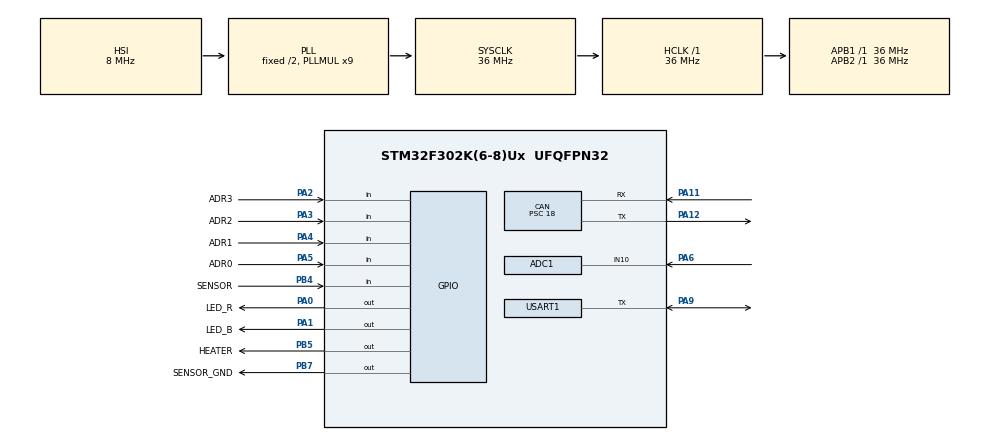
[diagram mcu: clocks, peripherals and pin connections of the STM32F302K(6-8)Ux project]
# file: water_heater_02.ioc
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Mcu.Family=STM32F3
PA2.GPIO_PuPd=GPIO_PULLUP
RCC.CortexFreq_Value=36000000
ADC1.ContinuousConvMode=ENABLE
RCC.SYSCLKSourceVirtual=RCC_SYSCLKSOURCE_PLLCLK
PA3.GPIO_PuPd=GPIO_PULLUP
PA0.GPIO_Label=LED_R
PA11.Mode=CAN_Activate
CAN.SJW=CAN_SJW_1TQ
ProjectManager.StackSize=0x400
PA12.Signal=CAN_TX
CAN.Prescaler=18
ADC1.Offset-0\#ChannelRegularConversion=0
RCC.HCLKFreq_Value=36000000
RCC.APB2TimFreq_Value=36000000
PB6.Signal=I2C1_SCL
Dma.ADC1.0.Direction=DMA_PERIPH_TO_MEMORY
Dma.ADC1.0.MemDataAlignment=DMA_MDATAALIGN_HALFWORD
RCC.AHBFreq_Value=36000000
ADC1.Channel-0\#ChannelRegularConversion=ADC_CHANNEL_10
RCC.HSE_VALUE=8000000
PA4.GPIO_PuPd=GPIO_PULLUP
RCC.PLLMUL=RCC_PLL_MUL9
PA14.Mode=Serial_Wire
PA5.GPIO_PuPd=GPIO_PULLUP
Dma.ADC1.0.PeriphInc=DMA_PINC_DISABLE
PB7.Signal=GPIO_Output
CAN.CalculateTimeQuantum=500.0
ADC1.SamplingTime-0\#ChannelRegularConversion=ADC_SAMPLETIME_601CYCLES_5
PA0.Signal=GPIO_Output
PB7.GPIO_Label=SENSOR_GND
Mcu.Package=UFQFPN32
PA6.Signal=ADCx_IN10
PA2.GPIO_Label=ADR3
PB5.GPIO_Label=HEATER
RCC.APB1TimFreq_Value=36000000
Dma.Request0=ADC1
PA4.GPIO_Label=ADR1
PB4.Signal=GPIO_Input
PA3.Signal=GPIO_Input
Dma.ADC1.0.Instance=DMA1_Channel1
ADC1.Rank-0\#ChannelRegularConversion=1
ADC1.OffsetNumber-0\#ChannelRegularConversion=ADC_OFFSET_NONE
CAN.CalculateBaudRate=125000
NVIC.USB_LP_CAN_RX0_IRQn=true\:0\:0\:false\:false\:true\:true\:true
CAN.CalculateTimeBit=8000.00
PA13.Signal=SYS_JTMS-SWDIO
Dma.ADC1.0.PeriphDataAlignment=DMA_PDATAALIGN_HALFWORD
PA9.Mode=Half_duplex(single_wire_mode)
CAN.BS2=CAN_BS2_7TQ
CAN.BS1=CAN_BS1_8TQ
ProjectManager.TargetToolchain=STM32CubeIDE
Dma.ADC1.0.Mode=DMA_CIRCULAR
Dma.ADC1.0.Priority=DMA_PRIORITY_LOW
PA9.Signal=USART1_TX
PB4.GPIO_PuPd=GPIO_PULLUP
RCC.USBFreq_Value=36000000
CAN.Mode=CAN_MODE_NORMAL
PA1.Signal=GPIO_Output
PA5.Signal=GPIO_Input
board=custom
RCC.APB2Freq_Value=36000000
PB4.GPIO_Label=SENSOR
PA1.GPIO_Label=LED_B
ADC1.DMAContinuousRequests=ENABLE
ADC1.NbrOfConversion=1
PA13.Mode=Serial_Wire
Mcu.Name=STM32F302K(6-8)Ux
PA2.Signal=GPIO_Input
PA4.Signal=GPIO_Input
RCC.SYSCLKFreq_VALUE=36000000
PB5.Signal=GPIO_Output
ADC1.master=1
PA12.Mode=CAN_Activate
PA5.GPIO_Label=ADR0
PA11.Signal=CAN_RX
USART1.VirtualMode-Half_duplex(single_wire_mode)=VM_ASYNC
PA14.Signal=SYS_JTCK-SWCLK
Dma.ADC1.0.MemInc=DMA_MINC_ENABLE
SH.ADCx_IN10.0=ADC1_IN10,IN10-Single-Ended
ProjectManager.HeapSize=0x200
RCC.HSI_VALUE=8000000
NVIC.PriorityGroup=NVIC_PRIORITYGROUP_4
ADC1.NbrOfConversionFlag=1
NVIC.DMA1_Channel1_IRQn=true\:0\:0\:false\:false\:true\:false\:true
RCC.APB1Freq_Value=36000000
PA3.GPIO_Label=ADR2

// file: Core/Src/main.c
/* USER CODE BEGIN Header */
/**
  ******************************************************************************
  * @file           : main.c
  * @brief          : Main program body
  ******************************************************************************
  * @attention
  *
  * <h2><center>&copy; Copyright (c) 2022 STMicroelectronics.
  * All rights reserved.</center></h2>
  *
  * This software component is licensed by ST under BSD 3-Clause license,
  * the "License"; You may not use this file except in compliance with the
  * License. You may obtain a copy of the License at:
  *                        opensource.org/licenses/BSD-3-Clause
  *
  ******************************************************************************
  */
/* USER CODE END Header */
#include "main.h"

/* USER CODE BEGIN Includes */
#include "SI7051.h"
#define HISTERESIS 10
#define TARGET_TEMP 50
/* USER CODE END Includes */

ADC_HandleTypeDef hadc1;
DMA_HandleTypeDef hdma_adc1;

CAN_HandleTypeDef hcan;

UART_HandleTypeDef huart1;

void SystemClock_Config(void);
static void MX_GPIO_Init(void);
static void MX_DMA_Init(void);
static void MX_CAN_Init(void);
static void MX_USART1_UART_Init(void);
static void MX_ADC1_Init(void);

/* USER CODE BEGIN 0 */
/******************************CAN*******************************/
CAN_TxHeaderTypeDef TxHeader;
CAN_RxHeaderTypeDef RxHeader;

uint32_t TxMailbox [3];

uint8_t TxData [8];
uint8_t Rxdata [8];
/******************************CAN*******************************/

int16_t air_temperature=0;
int16_t temperature = 0;
uint8_t address = 0;
uint8_t heating = 0;
uint8_t empty = 0;
uint16_t ADC_value[1];
uint16_t ADC_filtered;

uint8_t address_read ()
{
	uint8_t ADR = 0;
	if (HAL_GPIO_ReadPin(ADR0_GPIO_Port, ADR0_Pin)==GPIO_PIN_SET)
		ADR = ADR + 1;
	if (HAL_GPIO_ReadPin(ADR1_GPIO_Port, ADR1_Pin)==GPIO_PIN_SET)
		ADR = ADR + 2;
	if (HAL_GPIO_ReadPin(ADR2_GPIO_Port, ADR2_Pin)==GPIO_PIN_SET)
		ADR = ADR + 4;
	if (HAL_GPIO_ReadPin(ADR3_GPIO_Port, ADR3_Pin)==GPIO_PIN_SET)
		ADR = ADR + 8;

	switch(ADR)
	{
	case 0:
		break;
	case 1:
		HAL_Delay(200);
		break;
	case 2:
		HAL_Delay(400);
		break;
	case 3:
		HAL_Delay(600);
		break;
	case 4:
		HAL_Delay(800);
		break;
	case 5:
		HAL_Delay(1000);
		break;
	case 6:
		HAL_Delay(1200);
		break;
	case 7:
		HAL_Delay(1400);
		break;
	case 8:
		HAL_Delay(1600);
		break;
	case 9:
		HAL_Delay(1800);
		break;
	case 10:
		HAL_Delay(100);
		break;
	}
	return ADR;
}
void HAL_CAN_RxFifo0MsgPendingCallback(CAN_HandleTypeDef *hcan)
{
	HAL_CAN_GetRxMessage(hcan, CAN_RX_FIFO0, &RxHeader, Rxdata);
	if(RxHeader.StdId == 0x755)
	{
		/*
		 * txBuffer[0]=(uint8_t)(temp & 0xff);
		 *	txBuffer[1]=(uint8_t)((temp >> 8) & 0xff);
		 */
		air_temperature = (int16_t)(((uint16_t)Rxdata[0]) + (((uint16_t)Rxdata[1]) << 8));
	}

}
void TxCANMessage()
{
	TxHeader.DLC = 4;
	TxHeader.ExtId = 0;
	TxHeader.IDE = CAN_ID_STD;
	TxHeader.RTR = CAN_RTR_DATA;
	TxHeader.StdId = 0x700 + address;
	TxHeader.TransmitGlobalTime = DISABLE;

	TxData[0] = (uint8_t)(temperature & 0xff);
	TxData[1] = (uint8_t)((temperature >> 8) & 0xff);
	TxData[2] = heating + (empty << 1);
	TxData[3] = 0;

	HAL_CAN_AddTxMessage(&hcan, &TxHeader, TxData, TxMailbox);
	HAL_GPIO_WritePin(LED_B_GPIO_Port, LED_B_Pin, GPIO_PIN_SET);
	HAL_Delay(50);
	HAL_GPIO_WritePin(LED_B_GPIO_Port, LED_B_Pin, GPIO_PIN_RESET);
}
/* USER CODE END 0 */

int main(void)
{
  /* USER CODE BEGIN 1 */
	uint32_t can_timestamp = 0;
  /* USER CODE END 1 */

  /* MCU Configuration--------------------------------------------------------*/

  /* Reset of all peripherals, Initializes the Flash interface and the Systick. */
  HAL_Init();

  /* Configure the system clock */
  SystemClock_Config();

  /* Initialize all configured peripherals */
  MX_GPIO_Init();
  MX_DMA_Init();
  MX_CAN_Init();
  MX_USART1_UART_Init();
  MX_ADC1_Init();
  /* USER CODE BEGIN 2 */
  HAL_GPIO_WritePin(SENSOR_GND_GPIO_Port, SENSOR_GND_Pin, GPIO_PIN_RESET);
  HAL_CAN_Start(&hcan);
  HAL_CAN_ActivateNotification(&hcan, CAN_IT_RX_FIFO0_MSG_PENDING);
  //SI7051_start_conversion(&hi2c1);
  HAL_ADC_Start_DMA(&hadc1, ADC_value, 1);
  HAL_GPIO_WritePin(HEATER_GPIO_Port, HEATER_Pin, GPIO_PIN_RESET);
  address = address_read();
  can_timestamp = HAL_GetTick();
  HAL_Delay(20);
  ADC_filtered = ADC_value[0];
  //temperature = SI7051_read_temperature(&hi2c1);

  /* USER CODE END 2 */

  /* Infinite loop */
  /* USER CODE BEGIN WHILE */
  while (1)
  {
	  /*
	   * TEMP: 241 ADC 1960
	   * TEMP: 238 ADC 1943
	   * TEMP: -192 ADC 340
	   * TEMP: 80 ADC 1229
	   * TEMP:  ADC
	   * TEMP:  ADC
	   * TEMP:  ADC
	   * TEMP:  ADC */
	  ADC_filtered = (uint16_t)((float)ADC_filtered * 0.9 + (float)ADC_value[0] * 0.1);
	  temperature = (int16_t)((0.2651*(float)ADC_filtered) - 270.86);

	  //SI7051_start_conversion(&hi2c1);
	  if ((HAL_GetTick() - can_timestamp) > 2000)
	  {
		  TxCANMessage();
		  can_timestamp = HAL_GetTick();
	  }
	  HAL_Delay(10);
	  //temperature = SI7051_read_temperature(&hi2c1);
	  if (HAL_GPIO_ReadPin(SENSOR_GPIO_Port, SENSOR_Pin))
	  {
		  empty = 0;
		  HAL_GPIO_WritePin(LED_R_GPIO_Port, LED_R_Pin, GPIO_PIN_RESET);
		  if (temperature < (TARGET_TEMP - HISTERESIS))
		  {
			  heating = 1;
			  HAL_GPIO_WritePin(HEATER_GPIO_Port, HEATER_Pin, GPIO_PIN_SET);
		  }
		  if (temperature > (TARGET_TEMP + HISTERESIS))
		  {
			  heating = 0;
			  HAL_GPIO_WritePin(HEATER_GPIO_Port, HEATER_Pin, GPIO_PIN_RESET);
		  }
	  }
	  else
	  {
		  HAL_GPIO_WritePin(LED_R_GPIO_Port, LED_R_Pin, GPIO_PIN_SET);
		  heating = 0;
		  empty = 1;
		  HAL_GPIO_WritePin(HEATER_GPIO_Port, HEATER_Pin, GPIO_PIN_RESET);
	  }
    /* USER CODE END WHILE */

  }
}

void SystemClock_Config(void)
{
  RCC_OscInitTypeDef RCC_OscInitStruct = {0};
  RCC_ClkInitTypeDef RCC_ClkInitStruct = {0};
  RCC_PeriphCLKInitTypeDef PeriphClkInit = {0};

  /** Initializes the RCC Oscillators according to the specified parameters
  * in the RCC_OscInitTypeDef structure.
  */
  RCC_OscInitStruct.OscillatorType = RCC_OSCILLATORTYPE_HSI;
  RCC_OscInitStruct.HSIState = RCC_HSI_ON;
  RCC_OscInitStruct.HSICalibrationValue = RCC_HSICALIBRATION_DEFAULT;
  RCC_OscInitStruct.PLL.PLLState = RCC_PLL_ON;
  RCC_OscInitStruct.PLL.PLLSource = RCC_PLLSOURCE_HSI;
  RCC_OscInitStruct.PLL.PLLMUL = RCC_PLL_MUL9;
  if (HAL_RCC_OscConfig(&RCC_OscInitStruct) != HAL_OK)
  {
    Error_Handler();
  }
  /** Initializes the CPU, AHB and APB buses clocks
  */
  RCC_ClkInitStruct.ClockType = RCC_CLOCKTYPE_HCLK|RCC_CLOCKTYPE_SYSCLK
                              |RCC_CLOCKTYPE_PCLK1|RCC_CLOCKTYPE_PCLK2;
  RCC_ClkInitStruct.SYSCLKSource = RCC_SYSCLKSOURCE_PLLCLK;
  RCC_ClkInitStruct.AHBCLKDivider = RCC_SYSCLK_DIV1;
  RCC_ClkInitStruct.APB1CLKDivider = RCC_HCLK_DIV1;
  RCC_ClkInitStruct.APB2CLKDivider = RCC_HCLK_DIV1;

  if (HAL_RCC_ClockConfig(&RCC_ClkInitStruct, FLASH_LATENCY_1) != HAL_OK)
  {
    Error_Handler();
  }
  PeriphClkInit.PeriphClockSelection = RCC_PERIPHCLK_USART1|RCC_PERIPHCLK_ADC1;
  PeriphClkInit.Usart1ClockSelection = RCC_USART1CLKSOURCE_PCLK1;
  PeriphClkInit.Adc1ClockSelection = RCC_ADC1PLLCLK_DIV1;

  if (HAL_RCCEx_PeriphCLKConfig(&PeriphClkInit) != HAL_OK)
  {
    Error_Handler();
  }
}

static void MX_ADC1_Init(void)
{

  ADC_ChannelConfTypeDef sConfig = {0};

  /** Common config
  */
  hadc1.Instance = ADC1;
  hadc1.Init.ClockPrescaler = ADC_CLOCK_ASYNC_DIV1;
  hadc1.Init.Resolution = ADC_RESOLUTION_12B;
  hadc1.Init.ScanConvMode = ADC_SCAN_DISABLE;
  hadc1.Init.ContinuousConvMode = ENABLE;
  hadc1.Init.DiscontinuousConvMode = DISABLE;
  hadc1.Init.ExternalTrigConvEdge = ADC_EXTERNALTRIGCONVEDGE_NONE;
  hadc1.Init.ExternalTrigConv = ADC_SOFTWARE_START;
  hadc1.Init.DataAlign = ADC_DATAALIGN_RIGHT;
  hadc1.Init.NbrOfConversion = 1;
  hadc1.Init.DMAContinuousRequests = ENABLE;
  hadc1.Init.EOCSelection = ADC_EOC_SINGLE_CONV;
  hadc1.Init.LowPowerAutoWait = DISABLE;
  hadc1.Init.Overrun = ADC_OVR_DATA_OVERWRITTEN;
  if (HAL_ADC_Init(&hadc1) != HAL_OK)
  {
    Error_Handler();
  }
  /** Configure Regular Channel
  */
  sConfig.Channel = ADC_CHANNEL_10;
  sConfig.Rank = ADC_REGULAR_RANK_1;
  sConfig.SingleDiff = ADC_SINGLE_ENDED;
  sConfig.SamplingTime = ADC_SAMPLETIME_601CYCLES_5;
  sConfig.OffsetNumber = ADC_OFFSET_NONE;
  sConfig.Offset = 0;
  if (HAL_ADC_ConfigChannel(&hadc1, &sConfig) != HAL_OK)
  {
    Error_Handler();
  }

}

static void MX_CAN_Init(void)
{

  hcan.Instance = CAN;
  hcan.Init.Prescaler = 18;
  hcan.Init.Mode = CAN_MODE_NORMAL;
  hcan.Init.SyncJumpWidth = CAN_SJW_1TQ;
  hcan.Init.TimeSeg1 = CAN_BS1_8TQ;
  hcan.Init.TimeSeg2 = CAN_BS2_7TQ;
  hcan.Init.TimeTriggeredMode = DISABLE;
  hcan.Init.AutoBusOff = DISABLE;
  hcan.Init.AutoWakeUp = DISABLE;
  hcan.Init.AutoRetransmission = DISABLE;
  hcan.Init.ReceiveFifoLocked = DISABLE;
  hcan.Init.TransmitFifoPriority = DISABLE;
  if (HAL_CAN_Init(&hcan) != HAL_OK)
  {
    Error_Handler();
  }
  /* USER CODE BEGIN CAN_Init 2 */
  CAN_FilterTypeDef sFilterConfig;

  sFilterConfig.FilterActivation = CAN_FILTER_ENABLE;
  sFilterConfig.FilterBank = 10;
  sFilterConfig.FilterFIFOAssignment = CAN_FILTER_FIFO0;
  sFilterConfig.FilterIdHigh = 0x0000;
  sFilterConfig.FilterIdLow = 0x0000;
  sFilterConfig.FilterMaskIdHigh = 0x0000;
  sFilterConfig.FilterMaskIdLow = 0x0000;
  sFilterConfig.FilterMode = CAN_FILTERMODE_IDMASK;
  sFilterConfig.FilterScale = CAN_FILTERSCALE_32BIT;
  sFilterConfig.SlaveStartFilterBank = 0;

  HAL_CAN_ConfigFilter(&hcan, &sFilterConfig);
  /* USER CODE END CAN_Init 2 */

}

static void MX_USART1_UART_Init(void)
{

  huart1.Instance = USART1;
  huart1.Init.BaudRate = 38400;
  huart1.Init.WordLength = UART_WORDLENGTH_8B;
  huart1.Init.StopBits = UART_STOPBITS_1;
  huart1.Init.Parity = UART_PARITY_NONE;
  huart1.Init.Mode = UART_MODE_TX_RX;
  huart1.Init.HwFlowCtl = UART_HWCONTROL_NONE;
  huart1.Init.OverSampling = UART_OVERSAMPLING_16;
  huart1.Init.OneBitSampling = UART_ONE_BIT_SAMPLE_DISABLE;
  huart1.AdvancedInit.AdvFeatureInit = UART_ADVFEATURE_NO_INIT;
  if (HAL_HalfDuplex_Init(&huart1) != HAL_OK)
  {
    Error_Handler();
  }

}

static void MX_DMA_Init(void)
{

  /* DMA controller clock enable */
  __HAL_RCC_DMA1_CLK_ENABLE();

  /* DMA interrupt init */
  /* DMA1_Channel1_IRQn interrupt configuration */
  HAL_NVIC_SetPriority(DMA1_Channel1_IRQn, 0, 0);
  HAL_NVIC_EnableIRQ(DMA1_Channel1_IRQn);

}

static void MX_GPIO_Init(void)
{
  GPIO_InitTypeDef GPIO_InitStruct = {0};

  /* GPIO Ports Clock Enable */
  __HAL_RCC_GPIOA_CLK_ENABLE();
  __HAL_RCC_GPIOB_CLK_ENABLE();

  /*Configure GPIO pin Output Level */
  HAL_GPIO_WritePin(GPIOA, LED_R_Pin|LED_B_Pin, GPIO_PIN_RESET);

  /*Configure GPIO pin Output Level */
  HAL_GPIO_WritePin(GPIOB, HEATER_Pin|SENSOR_GND_Pin, GPIO_PIN_RESET);

  /*Configure GPIO pins : LED_R_Pin LED_B_Pin */
  GPIO_InitStruct.Pin = LED_R_Pin|LED_B_Pin;
  GPIO_InitStruct.Mode = GPIO_MODE_OUTPUT_PP;
  GPIO_InitStruct.Pull = GPIO_NOPULL;
  GPIO_InitStruct.Speed = GPIO_SPEED_FREQ_LOW;
  HAL_GPIO_Init(GPIOA, &GPIO_InitStruct);

  /*Configure GPIO pins : ADR3_Pin ADR2_Pin ADR1_Pin ADR0_Pin */
  GPIO_InitStruct.Pin = ADR3_Pin|ADR2_Pin|ADR1_Pin|ADR0_Pin;
  GPIO_InitStruct.Mode = GPIO_MODE_INPUT;
  GPIO_InitStruct.Pull = GPIO_PULLUP;
  HAL_GPIO_Init(GPIOA, &GPIO_InitStruct);

  /*Configure GPIO pin : SENSOR_Pin */
  GPIO_InitStruct.Pin = SENSOR_Pin;
  GPIO_InitStruct.Mode = GPIO_MODE_INPUT;
  GPIO_InitStruct.Pull = GPIO_PULLUP;
  HAL_GPIO_Init(SENSOR_GPIO_Port, &GPIO_InitStruct);

  /*Configure GPIO pins : HEATER_Pin SENSOR_GND_Pin */
  GPIO_InitStruct.Pin = HEATER_Pin|SENSOR_GND_Pin;
  GPIO_InitStruct.Mode = GPIO_MODE_OUTPUT_PP;
  GPIO_InitStruct.Pull = GPIO_NOPULL;
  GPIO_InitStruct.Speed = GPIO_SPEED_FREQ_LOW;
  HAL_GPIO_Init(GPIOB, &GPIO_InitStruct);

  /*Configure GPIO pin : PB6 */
  GPIO_InitStruct.Pin = GPIO_PIN_6;
  GPIO_InitStruct.Mode = GPIO_MODE_AF_OD;
  GPIO_InitStruct.Pull = GPIO_PULLUP;
  GPIO_InitStruct.Speed = GPIO_SPEED_FREQ_HIGH;
  GPIO_InitStruct.Alternate = GPIO_AF4_I2C1;
  HAL_GPIO_Init(GPIOB, &GPIO_InitStruct);

}

void Error_Handler(void)
{
  __disable_irq();
  while (1)
  {
  }
}

/************************ (C) COPYRIGHT STMicroelectronics *****END OF FILE****/
